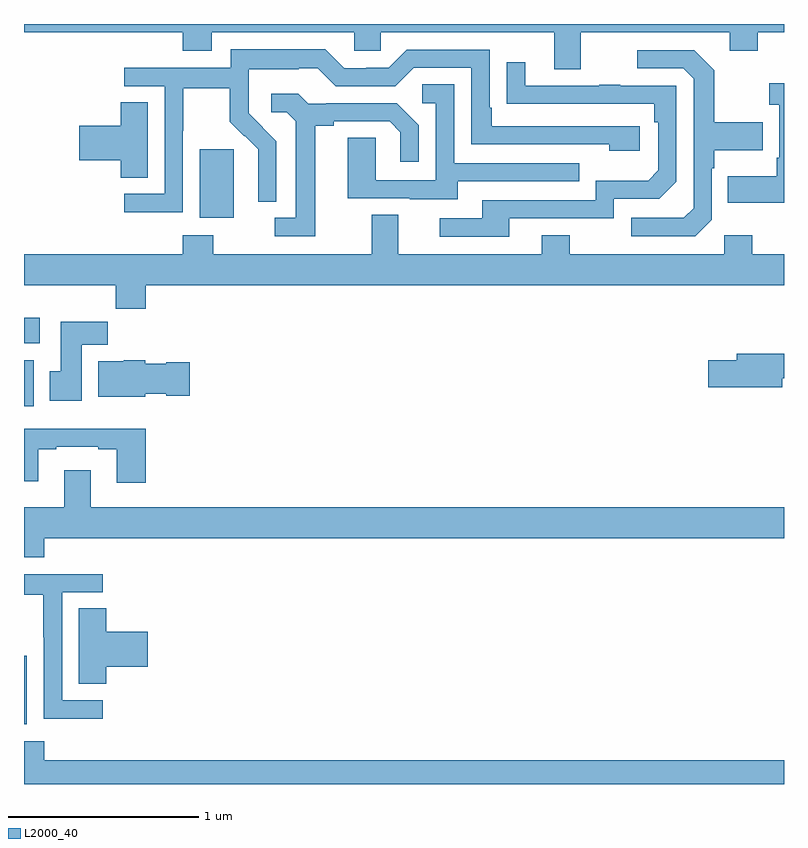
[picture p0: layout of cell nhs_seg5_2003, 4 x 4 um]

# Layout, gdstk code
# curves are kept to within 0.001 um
import gdstk
lib = gdstk.Library(unit=1e-6, precision=1e-09)
def R(c, l, rs):  # rectangles x0, y0, x1, y1
    for r in rs: c.add(gdstk.rectangle(r[:2], r[2:], *l))
def P(c, l, *ps):  # polygons
    for p in ps: c.add(gdstk.Polygon(p, *l))
L2000_40 = (2000, 40)

nhs_seg5_2003 = lib.new_cell('nhs_seg5_2003')
R(nhs_seg5_2003, L2000_40, [(229,857.114,229.015,857.475), (229,858.788,229.051,859.03), (229,859.118,229.084,859.252), (229.925,859.778,230.104,860.139)])
P(nhs_seg5_2003, L2000_40, [(231.931,860.756),(232.715,860.756),(232.715,860.657),(232.863,860.657),(232.863,860.756),(233,860.756),(233,860.799),(229,860.799),(229,860.756),(229.835,860.756),(229.835,860.657),(229.987,860.657),(229.987,860.756),(230.739,860.756),(230.739,860.658),(230.877,860.658),(230.877,860.756),(231.791,860.756),(231.791,860.562),(231.931,860.562)],
  [(229.836,860.236),(229.839,860.236),(229.839,860.46),(230.083,860.46),(230.083,860.285),(230.16,860.208),(230.163,860.211),(230.234,860.141),(230.234,860.018),(230.232,860.018),(230.232,859.864),(230.328,859.864),(230.328,860.182),(230.182,860.33),(230.182,860.427),(230.184,860.427),(230.184,860.561),(230.447,860.561),(230.447,860.565),(230.547,860.565),(230.64,860.472),(230.955,860.472),(231.051,860.568),(231.354,860.568),(231.354,860.166),(232.079,860.166),(232.079,860.132),(232.24,860.132),(232.24,860.262),(231.463,860.262),(231.463,860.359),(231.45,860.359),(231.45,860.664),(231.015,860.664),(230.919,860.568),(230.801,860.568),(230.801,860.565),(230.685,860.565),(230.585,860.665),(230.088,860.665),(230.088,860.568),(229.527,860.568),(229.527,860.472),(229.74,860.472),(229.74,859.905),(229.527,859.905),(229.527,859.807),(229.836,859.807)],
  [(232.62,859.77),(232.62,860.039),(232.633,860.039),(232.633,860.135),(232.889,860.135),(232.889,860.283),(232.633,860.283),(232.633,860.555),(232.527,860.661),(232.227,860.661),(232.227,860.565),(232.47,860.565),(232.524,860.511),(232.524,859.83),(232.473,859.779),(232.197,859.779),(232.197,859.683),(232.533,859.683)],
  [(231.553,859.776),(232.104,859.776),(232.104,859.878),(232.344,859.878),(232.434,859.968),(232.434,860.475),(232.139,860.475),(232.139,860.48),(232.027,860.48),(232.027,860.475),(231.637,860.475),(231.637,860.599),(231.541,860.599),(231.541,860.38),(232.318,860.379),(232.318,860.282),(232.338,860.282),(232.338,860.028),(232.285,859.975),(232.008,859.975),(232.008,859.872),(231.413,859.872),(231.413,859.776),(231.189,859.776),(231.189,859.68),(231.553,859.68)],
  [(233,860.488),(232.923,860.488),(232.923,860.375),(232.974,860.375),(232.974,860.095),(232.962,860.095),(232.962,859.999),(232.705,859.999),(232.705,859.859),(233,859.859)],
  [(231.283,859.971),(231.923,859.971),(231.923,860.067),(231.264,860.067),(231.264,860.483),(231.096,860.483),(231.096,860.382),(231.168,860.382),(231.168,859.977),(230.85,859.977),(230.85,860.201),(230.705,860.201),(230.705,859.881),(231.029,859.881),(231.029,859.877),(231.283,859.877)],
  [(230.533,860.264),(230.629,860.264),(230.629,860.286),(230.924,860.286),(230.981,860.229),(230.981,860.073),(231.078,860.073),(231.078,860.266),(230.962,860.382),(230.59,860.382),(230.59,860.379),(230.496,860.379),(230.444,860.431),(230.301,860.431),(230.301,860.334),(230.382,860.334),(230.429,860.287),(230.429,859.779),(230.319,859.779),(230.319,859.683),(230.533,859.683)],
  [(229.651,860.387),(229.508,860.387),(229.508,860.264),(229.29,860.264),(229.29,860.081),(229.508,860.081),(229.508,859.99),(229.651,859.99)],
  [(229.64,859.424),(233,859.424),(233,859.588),(232.833,859.588),(232.833,859.687),(232.686,859.687),(232.686,859.588),(231.873,859.588),(231.873,859.687),(231.725,859.687),(231.725,859.588),(230.971,859.588),(230.971,859.796),(230.831,859.796),(230.831,859.588),(229.995,859.588),(229.995,859.687),(229.835,859.687),(229.835,859.588),(229,859.588),(229,859.424),(229.483,859.424),(229.483,859.3),(229.64,859.3)],
  [(229.303,859.112),(229.442,859.112),(229.442,859.231),(229.193,859.231),(229.193,858.972),(229.136,858.972),(229.136,858.816),(229.303,858.816)],
  [(232.99,858.934),(233,858.934),(233,859.063),(232.751,859.063),(232.751,859.029),(232.602,859.029),(232.602,858.887),(232.99,858.887)],
  [(229.638,858.854),(229.749,858.854),(229.749,858.842),(229.873,858.842),(229.873,859.02),(229.749,859.02),(229.749,859.012),(229.638,859.012),(229.638,859.03),(229.524,859.03),(229.524,859.024),(229.391,859.024),(229.391,858.836),(229.638,858.836)],
  [(229.64,858.67),(229,858.67),(229,858.392),(229.075,858.392),(229.075,858.561),(229.171,858.561),(229.171,858.573),(229.391,858.573),(229.391,858.561),(229.487,858.561),(229.487,858.384),(229.64,858.384)],
  [(229.106,858.092),(233,858.092),(233,858.256),(229.351,858.256),(229.351,858.451),(229.211,858.451),(229.211,858.256),(229,858.256),(229,857.993),(229.106,857.993)],
  [(229.414,857.241),(229.2,857.241),(229.2,857.808),(229.414,857.808),(229.414,857.904),(229,857.904),(229,857.796),(229.102,857.796),(229.102,857.572),(229.104,857.572),(229.104,857.143),(229.414,857.143)],
  [(229.433,857.417),(229.651,857.417),(229.651,857.6),(229.433,857.6),(229.433,857.723),(229.289,857.723),(229.289,857.326),(229.433,857.326)],
  [(233,856.924),(229.106,856.924),(229.106,857.023),(229,857.023),(229,856.799),(233,856.799)])

lib.write_gds('nhs_seg5_2003.gds')
